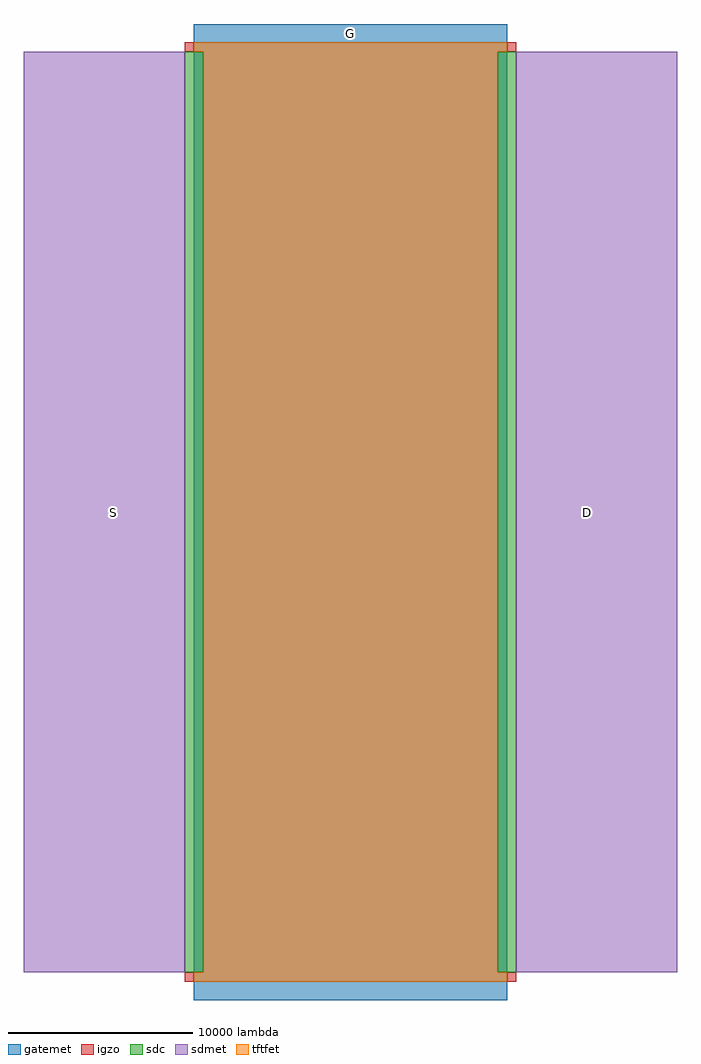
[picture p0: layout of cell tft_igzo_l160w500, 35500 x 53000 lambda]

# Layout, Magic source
magic
tech igzo_mmm_lab
<< igzo >>
rect -9000 25000 -8500 25500
rect 8500 25000 9000 25500
rect -9000 -25500 -8500 -25000
rect 8500 -25500 9000 -25000
<< tftfet >>
rect -8500 25000 8500 25500
rect -8000 -25000 8000 25000
rect -8500 -25500 8500 -25000
<< sdc >>
rect -9000 -25000 -8000 25000
rect 8000 -25000 9000 25000
<< sdmet >>
rect -17750 -25000 -9000 25000
rect 9000 -25000 17750 25000
<< gatemet >>
rect -8500 -26500 8500 26500
<< labels >>
rlabel sdmet s -13363 -488 -12387 488 4 S
port 3 nsew
rlabel sdmet s 12387 -488 13363 488 4 D
port 5 nsew
rlabel gatemet s -488 25512 488 26488 4 G
port 7 nsew
<< end >>
